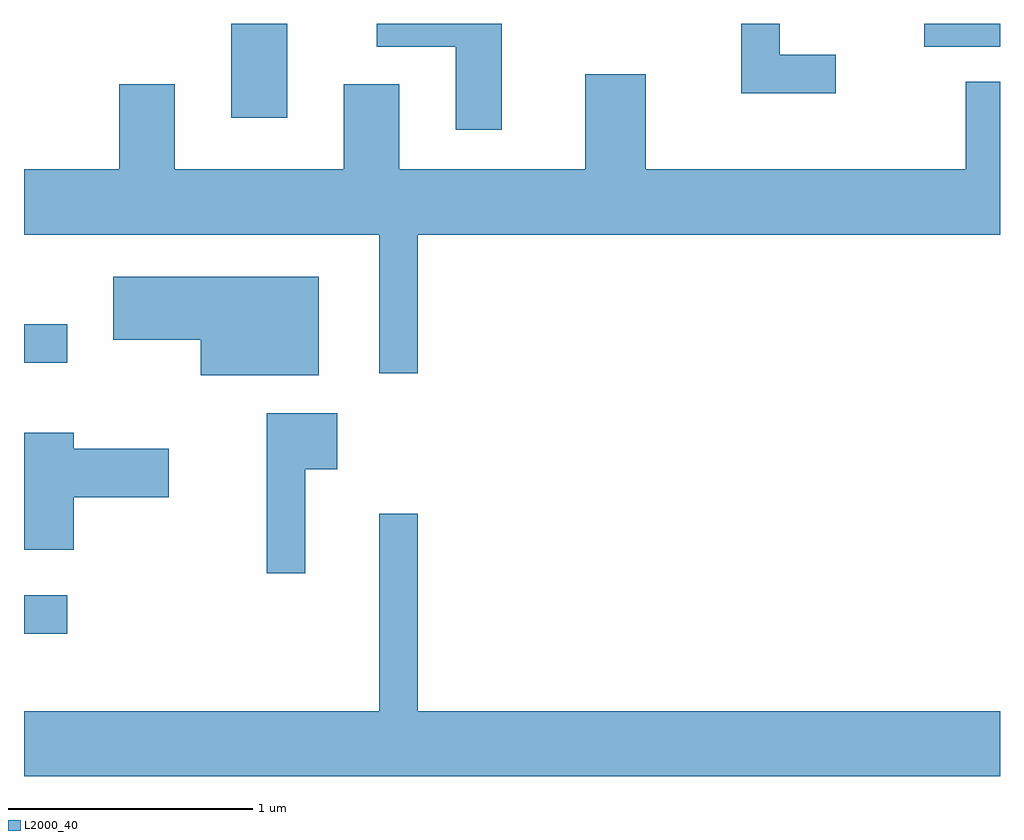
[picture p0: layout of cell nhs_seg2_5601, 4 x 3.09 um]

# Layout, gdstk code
import gdstk
lib = gdstk.Library(unit=1e-6, precision=1e-09)
def R(c, l, rs):  # rectangles x0, y0, x1, y1
    for r in rs: c.add(gdstk.rectangle(r[:2], r[2:], *l))
def P(c, l, *ps):  # polygons
    for p in ps: c.add(gdstk.Polygon(p, *l))
L2000_40 = (2000, 40)

nhs_seg2_5601 = lib.new_cell('nhs_seg2_5601')
R(nhs_seg2_5601, L2000_40, [(349.611,1093.301,349.788,1093.459), (349.611,1094.411,349.788,1094.569), (350.461,1095.416,350.689,1095.802), (353.301,1095.706,353.611,1095.802)])
P(nhs_seg2_5601, L2000_40, [(352.938,1095.674),(352.709,1095.674),(352.709,1095.802),(352.551,1095.802),(352.551,1095.516),(352.938,1095.516)],
  [(351.569,1095.802),(351.056,1095.802),(351.056,1095.706),(351.381,1095.706),(351.381,1095.366),(351.569,1095.366)],
  [(351.224,1094.936),(353.611,1094.936),(353.611,1095.563),(353.471,1095.563),(353.471,1095.204),(352.159,1095.204),(352.159,1095.594),(351.911,1095.594),(351.911,1095.204),(351.149,1095.204),(351.149,1095.554),(350.921,1095.554),(350.921,1095.204),(350.229,1095.204),(350.229,1095.554),(350.001,1095.554),(350.001,1095.204),(349.611,1095.204),(349.611,1094.936),(351.066,1094.936),(351.066,1094.368),(351.224,1094.368)],
  [(350.819,1094.764),(349.976,1094.764),(349.976,1094.506),(350.336,1094.506),(350.336,1094.361),(350.819,1094.361)],
  [(350.764,1093.976),(350.894,1093.976),(350.894,1094.204),(350.606,1094.204),(350.606,1093.548),(350.764,1093.548)],
  [(349.814,1093.861),(350.204,1093.861),(350.204,1094.059),(349.814,1094.059),(349.814,1094.124),(349.611,1094.124),(349.611,1093.646),(349.814,1093.646)],
  [(353.611,1092.984),(351.224,1092.984),(351.224,1093.793),(351.066,1093.793),(351.066,1092.984),(349.611,1092.984),(349.611,1092.716),(353.611,1092.716)])

lib.write_gds('nhs_seg2_5601.gds')
